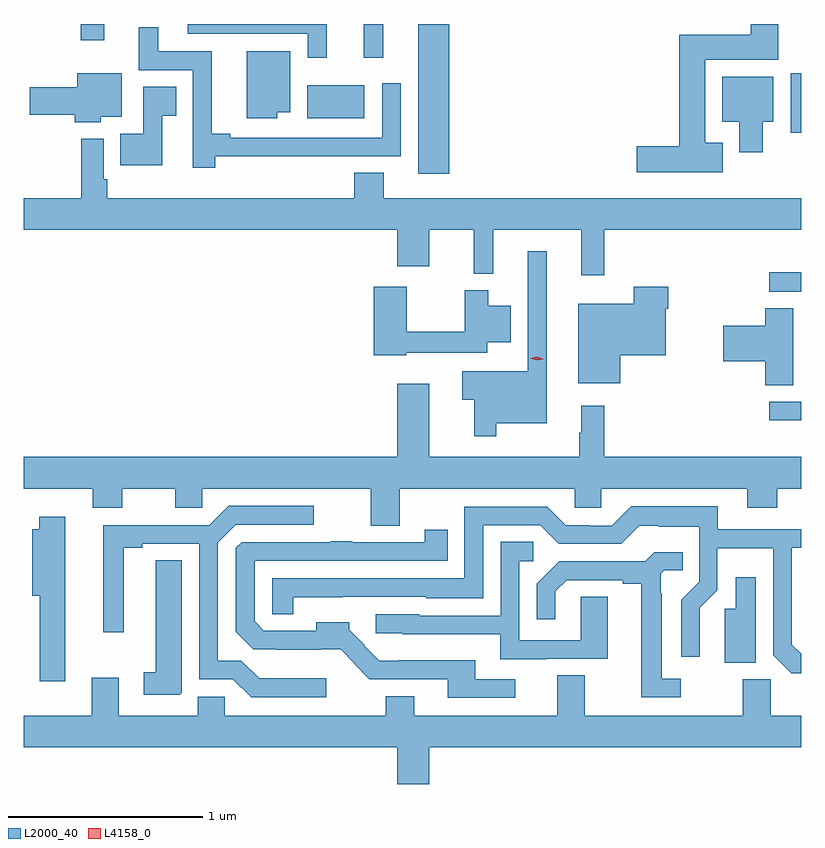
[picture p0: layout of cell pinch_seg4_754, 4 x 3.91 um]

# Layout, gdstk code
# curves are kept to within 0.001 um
import gdstk
lib = gdstk.Library(unit=1e-6, precision=1e-09)
def R(c, l, rs):  # rectangles x0, y0, x1, y1
    for r in rs: c.add(gdstk.rectangle(r[:2], r[2:], *l))
def P(c, l, *ps):  # polygons
    for p in ps: c.add(gdstk.Polygon(p, *l))
L2000_40 = (2000, 40)
L4158_0 = (4158, 0)

pinch_seg4_754 = lib.new_cell('pinch_seg4_754')
R(pinch_seg4_754, L2000_40, [(790.299,818.484,790.463,818.58), (790.299,819.147,790.463,819.246), (788.492,819.753,788.651,820.524), (790.409,819.965,790.463,820.27), (787.922,820.04,788.215,820.21), (788.213,820.35,788.312,820.524), (786.756,820.44,786.877,820.524)])
P(pinch_seg4_754, L2000_40, [(788.021,820.524),(787.307,820.524),(787.307,820.473),(787.923,820.473),(787.923,820.35),(788.021,820.35)],
  [(790.06,819.913),(789.97,819.913),(789.97,820.34),(790.345,820.34),(790.345,820.524),(790.205,820.524),(790.205,820.468),(789.836,820.468),(789.836,819.896),(789.618,819.896),(789.618,819.761),(790.06,819.761)],
  [(787.448,819.842),(788.078,819.842),(788.078,819.843),(788.403,819.843),(788.403,820.219),(788.307,820.219),(788.307,819.939),(787.525,819.939),(787.525,819.959),(787.43,819.959),(787.43,820.383),(787.153,820.383),(787.153,820.507),(787.055,820.507),(787.055,820.287),(787.332,820.287),(787.332,819.783),(787.448,819.783)],
  [(787.768,820.07),(787.834,820.07),(787.834,820.384),(787.61,820.384),(787.61,820.04),(787.768,820.04)],
  [(786.858,820.046),(786.967,820.046),(786.967,820.27),(786.737,820.27),(786.737,820.199),(786.492,820.199),(786.492,820.057),(786.725,820.057),(786.725,820.019),(786.858,820.019)],
  [(790.267,820.022),(790.321,820.022),(790.321,820.252),(790.058,820.252),(790.058,820.022),(790.145,820.022),(790.145,819.864),(790.267,819.864)],
  [(787.174,820.051),(787.247,820.051),(787.247,820.202),(787.077,820.202),(787.077,819.958),(786.958,819.958),(786.958,819.797),(787.174,819.797)],
  [(788.314,819.758),(788.162,819.758),(788.162,819.628),(786.893,819.628),(786.893,819.724),(786.873,819.724),(786.873,819.934),(786.757,819.934),(786.757,819.628),(786.463,819.628),(786.463,819.464),(788.384,819.464),(788.384,819.276),(788.548,819.276),(788.548,819.464),(788.779,819.464),(788.779,819.239),(788.879,819.239),(788.879,819.464),(789.332,819.464),(789.332,819.231),(789.449,819.231),(789.449,819.464),(790.463,819.464),(790.463,819.628),(788.314,819.628)],
  [(788.893,818.468),(789.154,818.468),(789.154,819.355),(789.057,819.355),(789.057,818.737),(788.72,818.737),(788.72,818.59),(788.782,818.59),(788.782,818.403),(788.893,818.403)],
  [(789.532,818.819),(789.766,818.819),(789.766,819.059),(789.779,819.059),(789.779,819.172),(789.601,819.172),(789.601,819.085),(789.317,819.085),(789.317,818.675),(789.532,818.675)],
  [(788.43,818.831),(788.848,818.831),(788.848,818.885),(788.968,818.885),(788.968,819.073),(788.854,819.073),(788.854,819.154),(788.732,819.154),(788.732,818.941),(788.434,818.941),(788.434,819.172),(788.264,819.172),(788.264,818.819),(788.43,818.819)],
  [(790.423,819.062),(790.28,819.062),(790.28,818.972),(790.062,818.972),(790.062,818.789),(790.28,818.789),(790.28,818.665),(790.423,818.665)],
  [(788.548,818.671),(788.384,818.671),(788.384,818.296),(786.463,818.296),(786.463,818.132),(786.818,818.132),(786.818,818.033),(786.97,818.033),(786.97,818.132),(787.241,818.132),(787.241,818.034),(787.38,818.034),(787.38,818.132),(788.249,818.132),(788.249,817.942),(788.397,817.942),(788.397,818.132),(789.297,818.132),(789.297,818.034),(789.435,818.034),(789.435,818.132),(790.187,818.132),(790.187,818.033),(790.34,818.033),(790.34,818.132),(790.463,818.132),(790.463,818.296),(789.449,818.296),(789.449,818.56),(789.332,818.56),(789.332,818.42),(789.321,818.42),(789.321,818.296),(788.548,818.296)],
  [(788.02,817.156),(787.673,817.156),(787.582,817.247),(787.461,817.247),(787.461,817.854),(787.554,817.947),(787.954,817.947),(787.954,818.043),(787.517,818.043),(787.418,817.944),(786.872,817.944),(786.872,817.392),(786.976,817.392),(786.976,817.828),(787.072,817.828),(787.072,817.848),(787.365,817.848),(787.365,817.152),(787.539,817.152),(787.632,817.059),(788.02,817.059)],
  [(790.463,817.282),(790.416,817.329),(790.416,817.827),(790.463,817.827),(790.463,817.923),(790.033,817.923),(790.033,818.041),(789.589,818.041),(789.489,817.941),(789.372,817.941),(789.372,817.944),(789.252,817.944),(789.156,818.04),(788.73,818.04),(788.73,817.671),(787.74,817.671),(787.74,817.486),(787.849,817.486),(787.849,817.574),(788.535,817.575),(788.535,817.568),(788.826,817.568),(788.826,817.944),(789.12,817.944),(789.216,817.848),(789.537,817.848),(789.63,817.941),(789.73,817.941),(789.73,817.937),(789.939,817.937),(789.939,817.653),(789.846,817.56),(789.846,817.266),(789.942,817.266),(789.941,817.518),(790.032,817.61),(790.032,817.826),(790.32,817.826),(790.32,817.275),(790.413,817.183),(790.463,817.183)],
  [(786.676,817.987),(786.542,817.987),(786.542,817.924),(786.506,817.924),(786.506,817.58),(786.545,817.58),(786.545,817.14),(786.676,817.14)],
  [(788.992,817.152),(788.785,817.152),(788.785,817.249),(788.392,817.249),(788.392,817.247),(788.291,817.247),(788.214,817.323),(788.217,817.326),(788.138,817.405),(788.138,817.444),(787.967,817.444),(787.967,817.401),(787.698,817.401),(787.65,817.449),(787.65,817.761),(788.645,817.761),(788.645,817.921),(788.527,817.921),(788.527,817.857),(788.153,817.857),(788.153,817.862),(788.041,817.862),(788.041,817.857),(787.584,817.857),(787.554,817.827),(787.554,817.395),(787.643,817.306),(787.759,817.306),(787.759,817.304),(788.093,817.305),(788.167,817.231),(788.165,817.229),(788.241,817.152),(788.645,817.152),(788.645,817.056),(788.992,817.056)],
  [(789.151,817.257),(789.469,817.257),(789.469,817.577),(789.33,817.577),(789.33,817.353),(789.012,817.353),(789.012,817.758),(789.085,817.758),(789.085,817.859),(788.916,817.859),(788.916,817.479),(788.499,817.479),(788.499,817.485),(788.274,817.485),(788.274,817.389),(788.409,817.389),(788.409,817.382),(788.915,817.382),(788.915,817.253),(789.151,817.253)],
  [(789.844,817.155),(789.745,817.155),(789.745,817.595),(789.741,817.595),(789.741,817.695),(789.759,817.713),(789.854,817.713),(789.854,817.805),(789.708,817.805),(789.66,817.758),(789.218,817.758),(789.102,817.642),(789.102,817.461),(789.199,817.461),(789.199,817.605),(789.256,817.662),(789.545,817.662),(789.545,817.642),(789.641,817.642),(789.641,817.059),(789.844,817.059)],
  [(787.276,817.081),(787.276,817.763),(787.142,817.763),(787.142,817.187),(787.08,817.187),(787.08,817.071),(787.266,817.071)],
  [(790.231,817.675),(790.127,817.675),(790.127,817.515),(790.07,817.515),(790.07,817.237),(790.231,817.237)],
  [(788.548,816.8),(790.463,816.8),(790.463,816.964),(790.308,816.964),(790.308,817.152),(790.162,817.152),(790.162,816.964),(789.349,816.964),(789.349,817.172),(789.209,817.172),(789.209,816.964),(788.473,816.964),(788.473,817.063),(788.326,817.063),(788.326,816.964),(787.497,816.964),(787.497,817.062),(787.358,817.062),(787.358,816.964),(786.952,816.964),(786.952,817.159),(786.812,817.159),(786.812,816.964),(786.463,816.964),(786.463,816.8),(788.384,816.8),(788.384,816.612),(788.548,816.612)])
P(pinch_seg4_754, L4158_0, [(789.102,818.792),(789.068,818.804),(789.067,818.804),(789.068,818.804),(789.104,818.811),(789.138,818.799),(789.138,818.799),(789.138,818.799)])

lib.write_gds('pinch_seg4_754.gds')
